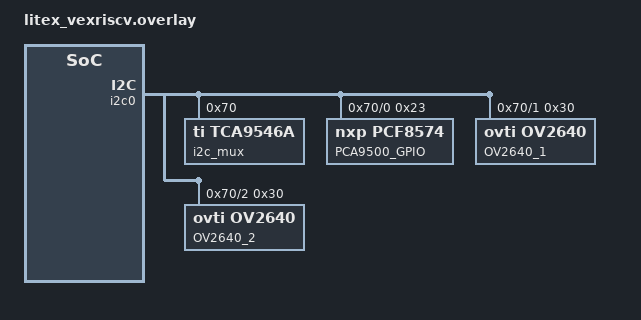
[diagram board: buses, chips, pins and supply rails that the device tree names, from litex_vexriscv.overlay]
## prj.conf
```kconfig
# Copyright (c) 2021-2022 Antmicro
# SPDX-License-Identifier: Apache-2.0

CONFIG_SHELL=y
CONFIG_SHELL_PROMPT_UART="video-overlays:~$ "

# Network
CONFIG_NET_UDP=y
CONFIG_NETWORKING=y
CONFIG_NET_IPV4=y
CONFIG_NET_SOCKETS=y
CONFIG_NET_SOCKETS_POSIX_NAMES=y
CONFIG_NET_SOCKETS_POLL_MAX=5

CONFIG_NET_CONFIG_SETTINGS=y
CONFIG_NET_CONFIG_PEER_IPV4_ADDR="192.0.2.2"
CONFIG_NET_CONFIG_MY_IPV4_ADDR="192.0.2.1"
CONFIG_NET_CONFIG_MY_IPV4_GW="192.0.2.2"

# Enable I2C MUX driver for two cameras and GPIO expander
CONFIG_I2C_TCA954X=y
CONFIG_I2C_TCA954X_ROOT_INIT_PRIO=61
CONFIG_I2C_TCA954X_CHANNEL_INIT_PRIO=62

# Enable GPIO expander driver
CONFIG_GPIO_PCF8574=y
CONFIG_GPIO_PCF8574_INIT_PRIORITY=63

# Enable camera driver
CONFIG_VIDEO=y
CONFIG_VIDEO_OV2640=y

# Enable FastVDMA driver
CONFIG_DMA=y
CONFIG_DMA_LITEX_FASTVDMA=y

CONFIG_LOG=y
CONFIG_DMA_LOG_LEVEL_DBG=y
CONFIG_I2C_LOG_LEVEL_DBG=y
CONFIG_GPIO_LOG_LEVEL_DBG=y

#Timing subsystem
CONFIG_TIMING_FUNCTIONS=y
```

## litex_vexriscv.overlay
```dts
/*
 * Copyright (c) 2021-2022 Antmicro
 *
 * SPDX-License-Identifier: Apache-2.0
 */

&uart0 {
	reg = <0xf0002800 0x20>;
	interrupts = <0x0 0>;
};

&timer0 {
	reg = <0xf0003000 0x40>;
	interrupts = <0x1 0>;
};

&eth0 {
	reg = <0xf0001800 0x6b 0x80000000 0x2000>;
	interrupts = <0x2 0>;
};

&i2c0 {
	reg = <0xf0000000 0x4 0xf0000004 0x4>;
	label = "i2c0";
	mux: tca9546a@70 {
		compatible = "ti,tca9546a";
		reg = <0x70>;
		status = "okay";
		label = "i2c_mux";
		#address-cells = <1>;
		#size-cells = <0>;

		mux_i2c@0 {
			label = "mux_dw_0";
			reg = <0>;
			status = "okay";
			#address-cells = <1>;
			#size-cells = <0>;
			compatible = "ti,tca9546a-channel";

			pcf8574@23 {
				compatible = "nxp,pcf8574";
				reg = <0x23>;
				label = "PCA9500_GPIO";
				status = "okay";
				ngpios = <8>;
				#gpio-cells = <2>;
				gpio-controller;
			};
		};

		mux_i2c@1 {
			label = "mux_dw_1";
			reg = <1>;
			status = "okay";
			#address-cells = <1>;
			#size-cells = <0>;
			compatible = "ti,tca9546a-channel";

			ov2640@30 {
				compatible = "ovti,ov2640";
				reg = <0x30>;
				label = "OV2640_1";
				status = "okay";
			};
		};

		mux_i2c@2 {
			label = "mux_dw_2";
			reg = <2>;
			status = "okay";
			#address-cells = <1>;
			#size-cells = <0>;
			compatible = "ti,tca9546a-channel";

			ov2640@30 {
				compatible = "ovti,ov2640";
				reg = <0x30>;
				label = "OV2640_2";
				status = "okay";
			};
		};
	};
};

&fastvdma_1 {
	status = "okay";
	label = "FASTVDMA_1";
	reg = <0x8000a000 0x4
		0x8000a004 0x1
		0x8000a008 0x1
		0x8000a00c 0x1
		0x8000a010 0x1
		0x8000a014 0x1
		0x8000a018 0x1
		0x8000a01c 0x1
		0x8000a020 0x1
		0x8000a024 0x1
		0x8000a028 0x1
		0x8000a02c 0x1
		0xf0000800 0x1
		0xf0000804 0x1
		0xf0000808 0x1>;
	interrupts = <0x3 0>;
};

&fastvdma_2 {
	status = "okay";
	label = "FASTVDMA_2";
	reg = <0x8000b000 0x4
		0x8000b004 0x1
		0x8000b008 0x1
		0x8000b00c 0x1
		0x8000b010 0x1
		0x8000b014 0x1
		0x8000b018 0x1
		0x8000b01c 0x1
		0x8000b020 0x1
		0x8000b024 0x1
		0x8000b028 0x1
		0x8000b02c 0x1
		0xf0001000 0x1
		0xf0001004 0x1
		0xf0001008 0x1>;
	interrupts = <0x4 0>;
};

&fastvdma_gpu_in_1 {
	status = "okay";
	label = "FASTVDMA_GPU_IN_1";
	reg = <0x8000c000 0x4
		0x8000c004 0x1
		0x8000c008 0x1
		0x8000c00c 0x1
		0x8000c010 0x1
		0x8000c014 0x1
		0x8000c018 0x1
		0x8000c01c 0x1
		0x8000c020 0x1
		0x8000c024 0x1
		0x8000c028 0x1
		0x8000c02c 0x1
		0xf0004800 0x1
		0xf0004804 0x1
		0xf0004808 0x1>;
	interrupts = <0x5 0>;
};

&fastvdma_gpu_in_2 {
	status = "okay";
	label = "FASTVDMA_GPU_IN_2";
	reg = <0x8000d000 0x4
		0x8000d004 0x1
		0x8000d008 0x1
		0x8000d00c 0x1
		0x8000d010 0x1
		0x8000d014 0x1
		0x8000d018 0x1
		0x8000d01c 0x1
		0x8000d020 0x1
		0x8000d024 0x1
		0x8000d028 0x1
		0x8000d02c 0x1
		0xf0005000 0x1
		0xf0005004 0x1
		0xf0005008 0x1>;
	interrupts = <0x6 0>;
};

&fastvdma_gpu_out {
	status = "okay";
	label = "FASTVDMA_GPU_OUT";
	reg = <0x8000e000 0x4
		0x8000e004 0x1
		0x8000e008 0x1
		0x8000e00c 0x1
		0x8000e010 0x1
		0x8000e014 0x1
		0x8000e018 0x1
		0x8000e01c 0x1
		0x8000e020 0x1
		0x8000e024 0x1
		0x8000e028 0x1
		0x8000e02c 0x1
		0xf0005800 0x1
		0xf0005804 0x1
		0xf0005808 0x1>;
	interrupts = <0x7 0>;
};

&litevideo_dma0 {
	status = "okay";
	label = "LITEVIDEO_DMA0";
	interrupts = <0x8 0>;
};

&gpio_in {
	status = "disabled";
};
```

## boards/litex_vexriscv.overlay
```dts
/*
 * Copyright (c) 2021-2022 Antmicro
 *
 * SPDX-License-Identifier: Apache-2.0
 */

&uart0 {
	reg = <0xf0002800 0x20>;
	interrupts = <0x0 0>;
};

&timer0 {
	reg = <0xf0003000 0x40>;
	interrupts = <0x1 0>;
};

&eth0 {
	reg = <0xf0001800 0x6b 0x80000000 0x2000>;
	interrupts = <0x2 0>;
};

&i2c0 {
	reg = <0xf0000000 0x4 0xf0000004 0x4>;
	label = "i2c0";
	mux: tca9546a@70 {
		compatible = "ti,tca9546a";
		reg = <0x70>;
		status = "okay";
		label = "i2c_mux";
		#address-cells = <1>;
		#size-cells = <0>;

		mux_i2c@0 {
			label = "mux_dw_0";
			reg = <0>;
			status = "okay";
			#address-cells = <1>;
			#size-cells = <0>;
			compatible = "ti,tca9546a-channel";

			pcf8574@23 {
				compatible = "nxp,pcf8574";
				reg = <0x23>;
				label = "PCA9500_GPIO";
				status = "okay";
				ngpios = <8>;
				#gpio-cells = <2>;
				gpio-controller;
			};
		};

		mux_i2c@1 {
			label = "mux_dw_1";
			reg = <1>;
			status = "okay";
			#address-cells = <1>;
			#size-cells = <0>;
			compatible = "ti,tca9546a-channel";

			ov2640@30 {
				compatible = "ovti,ov2640";
				reg = <0x30>;
				label = "OV2640_1";
				status = "okay";
			};
		};

		mux_i2c@2 {
			label = "mux_dw_2";
			reg = <2>;
			status = "okay";
			#address-cells = <1>;
			#size-cells = <0>;
			compatible = "ti,tca9546a-channel";

			ov2640@30 {
				compatible = "ovti,ov2640";
				reg = <0x30>;
				label = "OV2640_2";
				status = "okay";
			};
		};
	};
};

&fastvdma_1 {
	status = "okay";
	label = "FASTVDMA_1";
	reg = <0x8000a000 0x4
		0x8000a004 0x1
		0x8000a008 0x1
		0x8000a00c 0x1
		0x8000a010 0x1
		0x8000a014 0x1
		0x8000a018 0x1
		0x8000a01c 0x1
		0x8000a020 0x1
		0x8000a024 0x1
		0x8000a028 0x1
		0x8000a02c 0x1
		0xf0000800 0x1
		0xf0000804 0x1
		0xf0000808 0x1>;
	interrupts = <0x3 0>;
};

&fastvdma_2 {
	status = "okay";
	label = "FASTVDMA_2";
	reg = <0x8000b000 0x4
		0x8000b004 0x1
		0x8000b008 0x1
		0x8000b00c 0x1
		0x8000b010 0x1
		0x8000b014 0x1
		0x8000b018 0x1
		0x8000b01c 0x1
		0x8000b020 0x1
		0x8000b024 0x1
		0x8000b028 0x1
		0x8000b02c 0x1
		0xf0001000 0x1
		0xf0001004 0x1
		0xf0001008 0x1>;
	interrupts = <0x4 0>;
};

&fastvdma_gpu_in_1 {
	status = "okay";
	label = "FASTVDMA_GPU_IN_1";
	reg = <0x8000c000 0x4
		0x8000c004 0x1
		0x8000c008 0x1
		0x8000c00c 0x1
		0x8000c010 0x1
		0x8000c014 0x1
		0x8000c018 0x1
		0x8000c01c 0x1
		0x8000c020 0x1
		0x8000c024 0x1
		0x8000c028 0x1
		0x8000c02c 0x1
		0xf0004800 0x1
		0xf0004804 0x1
		0xf0004808 0x1>;
	interrupts = <0x5 0>;
};

&fastvdma_gpu_in_2 {
	status = "okay";
	label = "FASTVDMA_GPU_IN_2";
	reg = <0x8000d000 0x4
		0x8000d004 0x1
		0x8000d008 0x1
		0x8000d00c 0x1
		0x8000d010 0x1
		0x8000d014 0x1
		0x8000d018 0x1
		0x8000d01c 0x1
		0x8000d020 0x1
		0x8000d024 0x1
		0x8000d028 0x1
		0x8000d02c 0x1
		0xf0005000 0x1
		0xf0005004 0x1
		0xf0005008 0x1>;
	interrupts = <0x6 0>;
};

&fastvdma_gpu_out {
	status = "okay";
	label = "FASTVDMA_GPU_OUT";
	reg = <0x8000e000 0x4
		0x8000e004 0x1
		0x8000e008 0x1
		0x8000e00c 0x1
		0x8000e010 0x1
		0x8000e014 0x1
		0x8000e018 0x1
		0x8000e01c 0x1
		0x8000e020 0x1
		0x8000e024 0x1
		0x8000e028 0x1
		0x8000e02c 0x1
		0xf0005800 0x1
		0xf0005804 0x1
		0xf0005808 0x1>;
	interrupts = <0x7 0>;
};
```

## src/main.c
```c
/*
 * Copyright (c) 2021-2022 Antmicro
 *
 * SPDX-License-Identifier: Apache-2.0
 */

#include <zephyr.h>
#include <device.h>
#include <net/net_ip.h>
#include <stdio.h>
#include <net/socket.h>
#include <drivers/video.h>
#include <drivers/dma.h>
#include <drivers/gpio.h>
#include <timing/timing.h>

#include <logging/log.h>
LOG_MODULE_REGISTER(app);

#include "common.h"
#include "net.h"

#define OV2640_1 "OV2640_1"
#define OV2640_2 "OV2640_2"
#define FASTVDMA_1 "FASTVDMA_1"
#define FASTVDMA_2 "FASTVDMA_2"
#define FASTVDMA_GPU_IN_1 "FASTVDMA_GPU_IN_1"
#define FASTVDMA_GPU_IN_2 "FASTVDMA_GPU_IN_2"
#define FASTVDMA_GPU_OUT "FASTVDMA_GPU_OUT"
#define GPIO_EXPANDER "PCA9500_GPIO"

#define MY_STACK_SIZE 500
#define MY_PRIORITY 5

/* Implement function to flush cache memory for DMA */
#define CONFIG_L2_SIZE 8192
#define MAIN_RAM_BASE 0x40000000L

#define STACKSIZE 1024
#define PRIORITY 7

/* Uncomment this line if you want to have printed performance
 * measurements during test functions
 */
// #define MEASURE_PERFORMANCE 1

const struct device *ov2640_dev_1;
const struct device *ov2640_dev_2;
const struct device *fastvdma_dev_cam_1;
const struct device *fastvdma_dev_cam_2;
const struct device *fastvdma_dev_gpu_in_1;
const struct device *fastvdma_dev_gpu_in_2;
const struct device *fastvdma_dev_gpu_out;
const struct device *gpio_expander;

uint32_t cam_buff_1[MAX_IMG_SIZE];
uint32_t cam_buff_2[MAX_IMG_SIZE];
uint32_t cam_buff_3[MAX_IMG_SIZE];
uint32_t gpu_buff_1[MAX_IMG_SIZE];
uint32_t gpu_buff_2[MAX_IMG_SIZE];
uint32_t gpu_buff_3[MAX_IMG_SIZE];

uint32_t *hdmi_buffers[3] = {cam_buff_1, cam_buff_2, cam_buff_3};
uint32_t *hdmi_buffers_overlay[3] = {gpu_buff_1, gpu_buff_2, gpu_buff_3};

uint32_t overlay_image[MAX_IMG_SIZE];
uint32_t img_length_1 = 800 * 600;
uint32_t img_length_2 = 800 * 600;
uint32_t logo_offset_x;
uint32_t logo_offset_y;

int cam_buffer_index;
int gpu_buffer_index;

struct video_format fmt_1;
struct video_format fmt_2;
struct video_caps caps;

struct dma_config dma_cfg_cam1 = { 0 };
struct dma_config dma_cfg_cam2 = { 0 };
struct dma_config dma_cfg_gpu_in = { 0 };
struct dma_config dma_cfg_gpu_out = { 0 };
struct dma_block_config dma_block_cfg_cam = { 0 };
struct dma_block_config dma_block_cfg_gpu_in = { 0 };
struct dma_block_config dma_block_cfg_gpu_out = { 0 };

enum mode {cams, overlay } mode;
enum mode mode = cams;

enum overlay_mode {text, logo} overlay_mode;
enum overlay_mode overlay_mode = text;

char overlay_text[25] = "Video Overlays 2022";

const k_tid_t hdmi_id;
const k_tid_t cam_id;
const k_tid_t gpu_id;

bool suspend_hdmi;
bool suspend_cam;
bool suspend_gpu;

#ifdef MEASURE_PERFORMANCE
timing_t start_time_cam, end_time_cam;
timing_t start_time_gpu, end_time_gpu;
uint64_t measures_cam[100] = {0};
int n_measure_cam;
uint64_t measures_gpu[100] = {0};
int n_measure_gpu;
#endif

struct k_sem my_sem;

K_THREAD_DEFINE(hdmi_id, STACKSIZE, hdmi, NULL, NULL, NULL, PRIORITY, 0, 0);

K_THREAD_DEFINE(cam_id, STACKSIZE, cam, NULL, NULL, NULL, PRIORITY, 0, 0);

K_THREAD_DEFINE(gpu_id, STACKSIZE, gpu, NULL, NULL, NULL, PRIORITY, 0, 0);

void flush_l2_cache(void)
{
#ifdef CONFIG_L2_SIZE
	unsigned int i;

	for (i = 0; i < 2 * CONFIG_L2_SIZE / 4; i++) {
		((volatile unsigned int *)MAIN_RAM_BASE)[i];
	}
#endif
}

void led_chaser(void)
{
	int pin = 0;
	gpio_port_pins_t mask_high = 0xf;
	gpio_port_pins_t mask_low = 0x0;

	while (true) {
		if (pin == 4) {
			pin = 0;
		}

		mask_high ^= BIT(pin);
		mask_low ^= BIT(pin);

		gpio_port_set_masked(gpio_expander, mask_high, 0xf);
		gpio_port_set_masked(gpio_expander, mask_low, 0x0);

		k_msleep(110);
		pin++;
	}
}

K_THREAD_DEFINE(my_tid, MY_STACK_SIZE, led_chaser, NULL, NULL, NULL, MY_PRIORITY, 0, 0);

void print_camera_caps(const struct device *dev)
{
	if (video_get_caps(dev, VIDEO_EP_OUT, &caps)) {
		printf("Unable to retrieve video capabilities");
		return;
	}

	int i = 0;

	printf("- Capabilities:\n");
	while (caps.format_caps[i].pixelformat) {
		const struct video_format_cap *fcap = &caps.format_caps[i];
		/* fourcc to string */
		printf("  %c%c%c%c width [%u; %u; %u] height [%u; %u; %u]\n",
				(char)fcap->pixelformat, (char)(fcap->pixelformat >> 8),
				(char)(fcap->pixelformat >> 16), (char)(fcap->pixelformat >> 24),
				fcap->width_min, fcap->width_max, fcap->width_step, fcap->height_min,
				fcap->height_max, fcap->height_step);
		i++;
	}
}

int get_camera_fmt(const struct device *dev, struct video_format *fmt)
{
	/* Get default/native format - camera 1 */
	if (video_get_format(dev, VIDEO_EP_OUT, fmt)) {
		printf("Unable to retrieve video format");
		return -1;
	}

	printf("- Default format: %c%c%c%c %ux%u\n", (char)fmt->pixelformat,
			(char)(fmt->pixelformat >> 8), (char)(fmt->pixelformat >> 16),
			(char)(fmt->pixelformat >> 24), fmt->width, fmt->height);

	return 0;
}

void main(void)
{
	k_sem_init(&my_sem, 0, 1);
	suspend_threads();
#ifdef MEASURE_PERFORMANCE
	timing_init();
	timing_start();
#endif

	ov2640_dev_1 = device_get_binding(OV2640_1);
	ov2640_dev_2 = device_get_binding(OV2640_2);
	fastvdma_dev_cam_1 = device_get_binding(FASTVDMA_1);
	fastvdma_dev_cam_2 = device_get_binding(FASTVDMA_2);
	fastvdma_dev_gpu_in_1 = device_get_binding(FASTVDMA_GPU_IN_1);
	fastvdma_dev_gpu_in_2 = device_get_binding(FASTVDMA_GPU_IN_2);
	fastvdma_dev_gpu_out = device_get_binding(FASTVDMA_GPU_OUT);
	gpio_expander = device_get_binding(GPIO_EXPANDER);

	if (ov2640_dev_1 == NULL || ov2640_dev_2 == NULL) {
		printf("Camera sensor binding failed.\n");
		return;
	}

	if (fastvdma_dev_cam_1 == NULL || fastvdma_dev_cam_2 == NULL) {
		printf("Camera DMA binding failed.\n");
		return;
	}

	if (fastvdma_dev_gpu_in_1 == NULL || fastvdma_dev_gpu_in_2 == NULL ||
		fastvdma_dev_gpu_out == NULL) {
		printf("GPU DMA binding failed.\n");
		return;
	}

	/* Initialize all 5 DMAs */
	dma_init_cam1();
	dma_init_cam2();
	dma_init_gpu_inputs();
	dma_init_gpu_output();

	print_camera_caps(ov2640_dev_1);
	print_camera_caps(ov2640_dev_2);

	get_camera_fmt(ov2640_dev_1, &fmt_1);
	get_camera_fmt(ov2640_dev_2, &fmt_2);

	if (init_socket()) {
		printf("Failed to configure sockets.\n");
		return;
	};
}
```

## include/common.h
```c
/*
 * Copyright (c) 2021-2022 Antmicro
 *
 * SPDX-License-Identifier: Apache-2.0
 */

#define MAX_IMG_SIZE  (1280 * 1024)
#define MAX_IMG_WIDTH  1280
#define MAX_IMG_HEIGTH 1024

extern const struct device *fastvdma_dev_cam_1;
extern const struct device *fastvdma_dev_cam_2;
extern const struct device *fastvdma_dev_gpu_in_1;
extern const struct device *fastvdma_dev_gpu_in_2;
extern const struct device *fastvdma_dev_gpu_out;

extern struct dma_config dma_cfg_cam1;
extern struct dma_config dma_cfg_cam2;
extern struct dma_config dma_cfg_gpu_in;
extern struct dma_config dma_cfg_gpu_out;

extern struct dma_block_config dma_block_cfg_cam;
extern struct dma_block_config dma_block_cfg_gpu_in;
extern struct dma_block_config dma_block_cfg_gpu_out;

extern uint32_t overlay_image[MAX_IMG_SIZE];
extern uint32_t cam_buff_1[MAX_IMG_SIZE];
extern uint32_t cam_buff_2[MAX_IMG_SIZE];
extern uint32_t cam_buff_3[MAX_IMG_SIZE];
extern uint32_t gpu_buff_1[MAX_IMG_SIZE];
extern uint32_t gpu_buff_2[MAX_IMG_SIZE];
extern uint32_t gpu_buff_3[MAX_IMG_SIZE];

extern uint32_t *hdmi_buffers[3];
extern uint32_t *hdmi_buffers_overlay[3];
```

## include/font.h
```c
/*
 * Copyright (c) 2021-2022 Antmicro
 * Copyright (c) 2015-2019, Nicholas Christopoulos (nereus@freemail.gr),
 * with Reserved Font Name XSG-Fixed.
 *
 * This Font Software is licensed under the SIL Open Font License, Version 1.1.
 */

char font[][16] = {
	{ 0x00, 0x00, 0x00, 0x00, 0x00, 0x00, 0x00, 0x00, 0x00, 0x00, 0x00, 0x00, 0x00, 0x00, 0x00, 0x00 }, // space
	{ 0x00, 0x00, 0x30, 0x30, 0x30, 0x30, 0x30, 0x30, 0x30, 0x30, 0x30, 0x00, 0x30, 0x30, 0x00, 0x00 }, // !
	{ 0x00, 0x00, 0x6c, 0x6c, 0x6c, 0x6c, 0x00, 0x00, 0x00, 0x00, 0x00, 0x00, 0x00, 0x00, 0x00, 0x00 }, // "
	{ 0x00, 0x00, 0x00, 0x6c, 0x6c, 0x6c, 0xfe, 0x6c, 0x6c, 0x6c, 0xfe, 0x6c, 0x6c, 0x6c, 0x00, 0x00 }, // #
	{ 0x00, 0x00, 0x30, 0x30, 0x78, 0xcc, 0xe0, 0x70, 0x38, 0x1c, 0xcc, 0x78, 0x30, 0x30, 0x00, 0x00 }, // $
	{ 0x00, 0x00, 0xec, 0xac, 0xec, 0x18, 0x18, 0x30, 0x30, 0x60, 0x60, 0xdc, 0xd4, 0xdc, 0x00, 0x00 }, // %
	{ 0x00, 0x00, 0x00, 0x70, 0xd8, 0xd8, 0xd8, 0x70, 0x6c, 0xd8, 0xd8, 0xd8, 0xd8, 0x6c, 0x00, 0x00 }, // &
	{ 0x00, 0x70, 0x70, 0x30, 0x30, 0x60, 0x00, 0x00, 0x00, 0x00, 0x00, 0x00, 0x00, 0x00, 0x00, 0x00 }, // '
	{ 0x00, 0x18, 0x30, 0x60, 0x60, 0xc0, 0xc0, 0xc0, 0xc0, 0xc0, 0xc0, 0x60, 0x60, 0x30, 0x18, 0x00 }, // (
	{ 0x00, 0x60, 0x30, 0x18, 0x18, 0x0c, 0xc0, 0x0c, 0x0c, 0x0c, 0x0c, 0x18, 0x18, 0x30, 0x60, 0x00 }, // )
	{ 0x00, 0x00, 0x00, 0x00, 0x00, 0x00, 0x00, 0xcc, 0x78, 0xfc, 0x78, 0xcc, 0x00, 0x00, 0x00, 0x00 }, // *
	{ 0x00, 0x00, 0x00, 0x00, 0x00, 0x00, 0x30, 0x30, 0x30, 0xfc, 0x30, 0x30, 0x30, 0x00, 0x00, 0x00 }, // +
	{ 0x00, 0x00, 0x00, 0x00, 0x00, 0x00, 0x00, 0x00, 0x00, 0x00, 0x00, 0x00, 0x30, 0x30, 0x30, 0x60 }, // ,
	{ 0x00, 0x00, 0x00, 0x00, 0x00, 0x00, 0x00, 0x00, 0x00, 0xfc, 0x00, 0x00, 0x00, 0x00, 0x00, 0x00 }, // -
	{ 0x00, 0x00, 0x00, 0x00, 0x00, 0x00, 0x00, 0x00, 0x00, 0x00, 0x00, 0x00, 0x30, 0x30, 0x00, 0x00 }, // .
	{ 0x00, 0x00, 0x0c, 0x0c, 0x0c, 0x18, 0x18, 0x30, 0x30, 0x60, 0x60, 0xc0, 0xc0, 0xc0, 0x00, 0x00 }, // /
	{ 0x00, 0x00, 0x78, 0xcc, 0xcc, 0xcc, 0xdc, 0xdc, 0xec, 0xec, 0xcc, 0xcc, 0xcc, 0x78, 0x00, 0x00 }, // 0
	{ 0x00, 0x00, 0x30, 0x30, 0x70, 0x70, 0x30, 0x30, 0x30, 0x30, 0x30, 0x30, 0x30, 0x78, 0x00, 0x00 }, // 1
	{ 0x00, 0x00, 0xf8, 0x0c, 0x0c, 0x0c, 0x0c, 0x18, 0x30, 0x60, 0xc0, 0xc0, 0xc0, 0xfc, 0x00, 0x00 }, // 2
	{ 0x00, 0x00, 0xf8, 0x0c, 0x0c, 0x0c, 0x0c, 0x38, 0x0c, 0x0c, 0x0c, 0x0c, 0x0c, 0xf8, 0x00, 0x00 }, // 3
	{ 0x00, 0x00, 0x0c, 0x0c, 0xcc, 0xcc, 0xcc, 0xcc, 0xcc, 0xcc, 0xcc, 0xfc, 0x0c, 0x0c, 0x00, 0x00 }, // 4
	{ 0x00, 0x00, 0xfc, 0xc0, 0xc0, 0xc0, 0xf8, 0x0c, 0x0c, 0x0c, 0x0c, 0x0c, 0x0c, 0xf8, 0x00, 0x00 }, // 5
	{ 0x00, 0x00, 0x78, 0xc0, 0xc0, 0xc0, 0xf8, 0xcc, 0xcc, 0xcc, 0xcc, 0xcc, 0xcc, 0x78, 0x00, 0x00 }, // 6
	{ 0x00, 0x00, 0xfc, 0x0c, 0x0c, 0x0c, 0x18, 0x18, 0x30, 0x30, 0x30, 0x30, 0x30, 0x30, 0x00, 0x00 }, // 7
	{ 0x00, 0x00, 0x78, 0xcc, 0xcc, 0xcc, 0xcc, 0x78, 0xcc, 0xcc, 0xcc, 0xcc, 0xcc, 0x78, 0x00, 0x00 }, // 8
	{ 0x00, 0x00, 0x78, 0xcc, 0xcc, 0xcc, 0xcc, 0xcc, 0xcc, 0x7c, 0x0c, 0x0c, 0x0c, 0x78, 0x00, 0x00 }, // 9
	{ 0x00, 0x00, 0x00, 0x00, 0x00, 0x30, 0x30, 0x00, 0x00, 0x00, 0x00, 0x00, 0x30, 0x30, 0x00, 0x00 }, // :
	{ 0x00, 0x00, 0x00, 0x00, 0x00, 0x30, 0x30, 0x00, 0x00, 0x00, 0x00, 0x00, 0x30, 0x30, 0x30, 0x60 }, // ;
	{ 0x00, 0x00, 0x00, 0x00, 0x00, 0x0c, 0x18, 0x30, 0x60, 0xc0, 0x60, 0x30, 0x18, 0x0c, 0x00, 0x00 }, // <
	{ 0x00, 0x00, 0x00, 0x00, 0x00, 0x00, 0x00, 0xfc, 0x00, 0x00, 0xfc, 0x00, 0x00, 0x00, 0x00, 0x00 }, // =
	{ 0x00, 0x00, 0x00, 0x00, 0x00, 0xc0, 0x60, 0x30, 0x18, 0x0c, 0x18, 0x30, 0x60, 0xc0, 0x00, 0x00 }, // >
	{ 0x00, 0x00, 0x78, 0xcc, 0xcc, 0x0c, 0x0c, 0x18, 0x30, 0x30, 0x30, 0x00, 0x30, 0x30, 0x00, 0x00 }, // ?
	{ 0x00, 0x00, 0x7c, 0xc6, 0xce, 0xd6, 0xd6, 0xd6, 0xd6, 0xd6, 0xd6, 0xde, 0xc0, 0x7c, 0x00, 0x00 }, // @
	{ 0x00, 0x00, 0x78, 0xcc, 0xcc, 0xcc, 0xcc, 0xcc, 0xfc, 0xcc, 0xcc, 0xcc, 0xcc, 0xcc, 0x00, 0x00 }, // A
	{ 0x00, 0x00, 0xf8, 0xcc, 0xcc, 0xcc, 0xcc, 0xf8, 0xcc, 0xcc, 0xcc, 0xcc, 0xcc, 0xf8, 0x00, 0x00 }, // B
	{ 0x00, 0x00, 0x78, 0xcc, 0xcc, 0xc0, 0xc0, 0xc0, 0xc0, 0xc0, 0xc0, 0xcc, 0xcc, 0x78, 0x00, 0x00 }, // C
	{ 0x00, 0x00, 0xf8, 0xcc, 0xcc, 0xcc, 0xcc, 0xcc, 0xcc, 0xcc, 0xcc, 0xcc, 0xcc, 0xf8, 0x00, 0x00 }, // D
	{ 0x00, 0x00, 0xfc, 0xc0, 0xc0, 0xc0, 0xc0, 0xf8, 0xc0, 0xc0, 0xc0, 0xc0, 0xc0, 0xfc, 0x00, 0x00 }, // E
	{ 0x00, 0x00, 0xfc, 0xc0, 0xc0, 0xc0, 0xc0, 0xf8, 0xc0, 0xc0, 0xc0, 0xc0, 0xc0, 0xc0, 0x00, 0x00 }, // F
	{ 0x00, 0x00, 0x78, 0xcc, 0xcc, 0xc0, 0xc0, 0xc0, 0xdc, 0xcc, 0xcc, 0xcc, 0xcc, 0x7c, 0x00, 0x00 }, // G
	{ 0x00, 0x00, 0xcc, 0xcc, 0xcc, 0xcc, 0xcc, 0xfc, 0xcc, 0xcc, 0xcc, 0xcc, 0xcc, 0xcc, 0x00, 0x00 }, // H
	{ 0x00, 0x00, 0x78, 0x30, 0x30, 0x30, 0x30, 0x30, 0x30, 0x30, 0x30, 0x30, 0x30, 0x78, 0x00, 0x00 }, // I
	{ 0x00, 0x00, 0x78, 0x30, 0x30, 0x30, 0x30, 0x30, 0x30, 0x30, 0x30, 0x30, 0x30, 0xe0, 0x00, 0x00 }, // J
	{ 0x00, 0x00, 0xcc, 0xcc, 0xcc, 0xd8, 0xd8, 0xf0, 0xf0, 0xd8, 0xd8, 0xcc, 0xcc, 0xcc, 0x00, 0x00 }, // K
	{ 0x00, 0x00, 0xc0, 0xc0, 0xc0, 0xc0, 0xc0, 0xc0, 0xc0, 0xc0, 0xc0, 0xc0, 0xc0, 0xfc, 0x00, 0x00 }, // L
	{ 0x00, 0x00, 0x84, 0xcc, 0xfc, 0xfc, 0xd4, 0xc4, 0xc4, 0xc4, 0xc4, 0xc4, 0xc4, 0xc4, 0x00, 0x00 }, // M
	{ 0x00, 0x00, 0x84, 0xc4, 0xe4, 0xf4, 0xdc, 0xcc, 0xc4, 0xc4, 0xc4, 0xc4, 0xc4, 0xc4, 0x00, 0x00 }, // N
	{ 0x00, 0x00, 0x78, 0xcc, 0xcc, 0xcc, 0xcc, 0xcc, 0xcc, 0xcc, 0xcc, 0xcc, 0xcc, 0x78, 0x00, 0x00 }, // O
	{ 0x00, 0x00, 0xf8, 0xcc, 0xcc, 0xcc, 0xcc, 0xcc, 0xcc, 0xf8, 0xc0, 0xc0, 0xc0, 0xc0, 0x00, 0x00 }, // P
	{ 0x00, 0x00, 0x78, 0xcc, 0xcc, 0xcc, 0xcc, 0xcc, 0xcc, 0xcc, 0xcc, 0xcc, 0xcc, 0x78, 0x30, 0x30 }, // Q
	{ 0x00, 0x00, 0xf8, 0xcc, 0xcc, 0xcc, 0xcc, 0xcc, 0xf8, 0xcc, 0xcc, 0xcc, 0xcc, 0xcc, 0x00, 0x00 }, // R
	{ 0x00, 0x00, 0x78, 0xcc, 0xcc, 0xc0, 0x60, 0x30, 0x18, 0x0c, 0x0c, 0xcc, 0xcc, 0x78, 0x00, 0x00 }, // S
	{ 0x00, 0x00, 0xfc, 0x30, 0x30, 0x30, 0x30, 0x30, 0x30, 0x30, 0x30, 0x30, 0x30, 0x30, 0x00, 0x00 }, // T
	{ 0x00, 0x00, 0xcc, 0xcc, 0xcc, 0xcc, 0xcc, 0xcc, 0xcc, 0xcc, 0xcc, 0xcc, 0xcc, 0x78, 0x00, 0x00 }, // U
	{ 0x00, 0x00, 0xcc, 0xcc, 0xcc, 0xcc, 0xcc, 0xcc, 0xcc, 0xcc, 0x68, 0x68, 0x30, 0x30, 0x00, 0x00 }, // V
	{ 0x00, 0x00, 0xc6, 0xc6, 0xc6, 0xc6, 0xc6, 0xd6, 0xd6, 0xd6, 0xd6, 0xd6, 0xfe, 0x6c, 0x00, 0x00 }, // W
	{ 0x00, 0x00, 0xcc, 0xcc, 0xcc, 0xcc, 0x68, 0x30, 0x58, 0xcc, 0xcc, 0xcc, 0xcc, 0xcc, 0x00, 0x00 }, // X
	{ 0x00, 0x00, 0xcc, 0xcc, 0xcc, 0xcc, 0xcc, 0xcc, 0xcc, 0x78, 0x30, 0x30, 0x30, 0x30, 0x00, 0x00 }, // Y
	{ 0x00, 0x00, 0xfc, 0x0c, 0x0c, 0x18, 0x18, 0x30, 0x30, 0x60, 0x60, 0xc0, 0xc0, 0xfc, 0x00, 0x00 }, // Z
	{ 0x00, 0x78, 0x60, 0x60, 0x60, 0x60, 0x60, 0x60, 0x60, 0x60, 0x60, 0x60, 0x60, 0x60, 0x78, 0x00 }, // [
	{ 0x00, 0x00, 0xc0, 0xc0, 0xc0, 0x60, 0x60, 0x30, 0x30, 0x18, 0x18, 0x0c, 0x0c, 0x0c, 0x00, 0x00 }, // backslash
	{ 0x00, 0x78, 0x18, 0x18, 0x18, 0x18, 0x18, 0x18, 0x18, 0x18, 0x18, 0x18, 0x18, 0x18, 0x78, 0x00 }, // ]
	{ 0x00, 0x00, 0x30, 0x78, 0xfc, 0x30, 0x30, 0x30, 0x30, 0x00, 0x00, 0x00, 0x00, 0x00, 0x00, 0x00 }, // ^
	{ 0x00, 0x00, 0x00, 0x00, 0x00, 0x00, 0x00, 0x00, 0x00, 0x00, 0x00, 0x00, 0x00, 0x00, 0xfe, 0x00 }, // _
	{ 0x00, 0x30, 0x60, 0x60, 0x70, 0x70, 0x00, 0x00, 0x00, 0x00, 0x00, 0x00, 0x00, 0x00, 0x00, 0x00 }, // `
	{ 0x00, 0x00, 0x00, 0x00, 0x00, 0x7c, 0xcc, 0xcc, 0xcc, 0xcc, 0xcc, 0xcc, 0xdc, 0x6c, 0x00, 0x00 }, // a
	{ 0x00, 0x00, 0xc0, 0xc0, 0xc0, 0xf8, 0xcc, 0xcc, 0xcc, 0xcc, 0xcc, 0xcc, 0xcc, 0xf8, 0x00, 0x00 }, // b
	{ 0x00, 0x00, 0x00, 0x00, 0x00, 0x7c, 0xc0, 0xc0, 0xc0, 0xc0, 0xc0, 0xc0, 0xc0, 0x7c, 0x00, 0x00 }, // c
	{ 0x00, 0x00, 0x0c, 0x0c, 0x0c, 0x7c, 0xcc, 0xcc, 0xcc, 0xcc, 0xcc, 0xcc, 0xcc, 0x7c, 0x00, 0x00 }, // d
	{ 0x00, 0x00, 0x00, 0x00, 0x00, 0x78, 0xcc, 0xcc, 0xcc, 0xfc, 0xc0, 0xc0, 0xc0, 0x78, 0x00, 0x00 }, // e
	{ 0x00, 0x00, 0x3c, 0x60, 0x60, 0x60, 0x60, 0x60, 0x60, 0xf8, 0x60, 0x60, 0x60, 0x60, 0x00, 0x00 }, // f
	{ 0x00, 0x00, 0x00, 0x00, 0x00, 0x7c, 0xcc, 0xcc, 0xcc, 0xcc, 0xcc, 0xcc, 0xcc, 0x7c, 0x0c, 0x78 }, // g
	{ 0x00, 0x00, 0xc0, 0xc0, 0xc0, 0xf8, 0xcc, 0xcc, 0xcc, 0xcc, 0xcc, 0xcc, 0xcc, 0xcc, 0x00, 0x00 }, // h
	{ 0x00, 0x00, 0x30, 0x30, 0x00, 0xf0, 0x30, 0x30, 0x30, 0x30, 0x30, 0x30, 0x30, 0xfc, 0x00, 0x00 }, // i
	{ 0x00, 0x00, 0x18, 0x18, 0x00, 0x78, 0x18, 0x18, 0x18, 0x18, 0x18, 0x18, 0x18, 0x18, 0x18, 0x70 }, // j
	{ 0x00, 0x00, 0xc0, 0xc0, 0xc0, 0xcc, 0xcc, 0xd8, 0xf0, 0xf0, 0xd8, 0xd8, 0xcc, 0xcc, 0x00, 0x00 }, // k
	{ 0x00, 0x00, 0xf0, 0x30, 0x30, 0x30, 0x30, 0x30, 0x30, 0x30, 0x30, 0x30, 0x30, 0xfc, 0x00, 0x00 }, // l
	{ 0x00, 0x00, 0x00, 0x00, 0x00, 0xfc, 0xd6, 0xd6, 0xd6, 0xd6, 0xd6, 0xd6, 0xd6, 0xd6, 0x00, 0x00 }, // m
	{ 0x00, 0x00, 0x00, 0x00, 0x00, 0xf8, 0xcc, 0xcc, 0xcc, 0xcc, 0xcc, 0xcc, 0xcc, 0xcc, 0x00, 0x00 }, // n
	{ 0x00, 0x00, 0x00, 0x00, 0x00, 0x78, 0xcc, 0xcc, 0xcc, 0xcc, 0xcc, 0xcc, 0xcc, 0x78, 0x00, 0x00 }, // o
	{ 0x00, 0x00, 0x00, 0x00, 0x00, 0xf8, 0xcc, 0xcc, 0xcc, 0xcc, 0xcc, 0xcc, 0xcc, 0xf8, 0xc0, 0xc0 }, // p
	{ 0x00, 0x00, 0x00, 0x00, 0x00, 0x7c, 0xcc, 0xcc, 0xcc, 0xcc, 0xcc, 0xcc, 0xcc, 0x7c, 0x0c, 0x0c }, // q
	{ 0x00, 0x00, 0x00, 0x00, 0x00, 0xfc, 0xc0, 0xc0, 0xc0, 0xc0, 0xc0, 0xc0, 0xc0, 0xc0, 0x00, 0x00 }, // r
	{ 0x00, 0x00, 0x00, 0x00, 0x00, 0x7c, 0xc0, 0xc0, 0x60, 0x30, 0x18, 0x0c, 0x0c, 0xf8, 0x00, 0x00 }, // s
	{ 0x00, 0x00, 0x60, 0x60, 0x60, 0xfc, 0x60, 0x60, 0x60, 0x60, 0x60, 0x60, 0x60, 0x3c, 0x00, 0x00 }, // t
	{ 0x00, 0x00, 0x00, 0x00, 0x00, 0xcc, 0xcc, 0xcc, 0xcc, 0xcc, 0xcc, 0xcc, 0xcc, 0x7c, 0x00, 0x00 }, // u
	{ 0x00, 0x00, 0x00, 0x00, 0x00, 0xcc, 0xcc, 0xcc, 0xcc, 0xcc, 0x68, 0x68, 0x30, 0x30, 0x00, 0x00 }, // v
	{ 0x00, 0x00, 0x00, 0x00, 0x00, 0xc6, 0xc6, 0xc6, 0xd6, 0xd6, 0xd6, 0xd6, 0xd6, 0x6c, 0x00, 0x00 }, // w
	{ 0x00, 0x00, 0x00, 0x00, 0x00, 0xcc, 0xcc, 0xcc, 0x78, 0x30, 0x78, 0xcc, 0xcc, 0xcc, 0x00, 0x00 }, // x
	{ 0x00, 0x00, 0x00, 0x00, 0x00, 0xcc, 0xcc, 0xcc, 0xcc, 0xcc, 0xcc, 0xcc, 0xcc, 0x7c, 0x0c, 0x78 }, // y
	{ 0x00, 0x00, 0x00, 0x00, 0x00, 0xfc, 0x0c, 0x0c, 0x18, 0x30, 0x60, 0xc0, 0xc0, 0xfc, 0x00, 0x00 }, // z
	{ 0x00, 0x38, 0x60, 0x60, 0x60, 0x60, 0x60, 0x60, 0xc0, 0x60, 0x60, 0x60, 0x60, 0x60, 0x60, 0x38 }, // {
	{ 0x00, 0x00, 0x30, 0x30, 0x30, 0x30, 0x30, 0x30, 0x30, 0x30, 0x30, 0x30, 0x30, 0x30, 0x00, 0x00 }, // |
	{ 0x00, 0xe0, 0x30, 0x30, 0x30, 0x30, 0x30, 0x30, 0x18, 0x30, 0x30, 0x30, 0x30, 0x30, 0x30, 0xe0 }, // }
	{ 0x00, 0x00, 0x00, 0x00, 0x74, 0xb8, 0x00, 0x00, 0x00, 0x00, 0x00, 0x00, 0x00, 0x00, 0x00, 0x00 }, // ~
};
```

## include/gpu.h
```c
/*
 * Copyright (c) 2021-2022 Antmicro
 *
 * SPDX-License-Identifier: Apache-2.0
 */

/* GPU */
typedef struct {
	uint8_t CR;			/* offset 0x00*/
	uint8_t FILL_CLR;	/* offset 0x04*/
	uint8_t FILL_CLR_2;	/* offset 0x08*/
	uint8_t FILL_CLR_3;	/* offset 0x0C*/
	uint8_t FILL_CLR_4;	/* offset 0x10*/
} GPU_typedef;

#ifndef CSR_BASE
#define CSR_BASE	(0xf0000000L)
#endif

/* GPU */
#define GPU_BASE	(CSR_BASE + 0x4000L)
#define GPU			((volatile GPU_typedef*) GPU_BASE)

/* GPU operating modes */
#define GPU_CR_IDLE				((uint32_t)0x00000000)
#define GPU_CR_ALPHA_BLENDER	((uint32_t)0x00000001)
#define GPU_CR_FILL_AREA		((uint32_t)0x00000002)

/* Colors */
#define CLR_RED		((uint32_t)0xFF0000FF)
#define CLR_GREEN	((uint32_t)0xFF00FF00)
#define CLR_BLUE	((uint32_t)0xFFFF0000)
```

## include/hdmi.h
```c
/*
 * Copyright (c) 2021-2022 Antmicro
 *
 * SPDX-License-Identifier: Apache-2.0
 */

#define INITIATOR_ENABLE_REG		0x3818L
#define INITIATOR_HSCAN_HI			0x3834L
#define INITIATOR_HSCAN_LOW		0x3838L
#define INITIATOR_HRES_HI			0x381cL
#define INITIATOR_HRES_LOW			0x3820L
#define INITIATOR_HSYNC_START_HI	0x3824L
#define INITIATOR_HSYNC_START_LOW	0x3828L
#define INITIATOR_HSYNC_END_HI		0x382cL
#define INITIATOR_HSYNC_END_LOW	0x3830L
#define INITIATOR_VRES_HI			0x383cL
#define INITIATOR_VRES_LOW			0x3840L
#define INITIATOR_VSYNC_START_HI	0x3844L
#define INITIATOR_VSYNC_START_LOW	0x3848L
#define INITIATOR_VSYNC_END_HI		0x384cL
#define INITIATOR_VSYNC_END_LOW	0x3850L
#define INITIATOR_VSCAN_HI			0x3854L
#define INITIATOR_VSCAN_LOW		0x3858L
#define INITIATOR_BASE_BYTE_0		0x385cL
#define INITIATOR_BASE_BYTE_1		0x3860L
#define INITIATOR_BASE_BYTE_2		0x3864L
#define INITIATOR_BASE_BYTE_3		0x3868L
#define INITIATOR_LENGTH_BYTE_0	0x386cL
#define INITIATOR_LENGTH_BYTE_1	0x3870L
#define INITIATOR_LENGTH_BYTE_2	0x3874L
#define INITIATOR_LENGTH_BYTE_3	0x3878L

#define CLOCKING_MMCM_RESET_REG	0x388cL
#define CLOCKING_MMCM_REG			0x3894L
#define CLOCKING_MMCM_DRDY_REG		0x3898L
#define CLOCKING_MMCM_ADR_REG		0x389cL
#define CLOCKING_MMCM_DAT_REG_HI	0x38a0L
#define CLOCKING_MMCM_DAT_REG_LOW	0x38a4L

#define HDMI_RESET	0x38b0L

#ifndef CSR_BASE
#define CSR_BASE 0xf0000000L
#endif

/* Default structure for HDMI timings */
struct video_timing {
	int pixel_clock;
	int h_active;
	int h_blanking;
	int h_sync_offset;
	int h_sync_width;
	int v_active;
	int v_blanking;
	int v_sync_offset;
	int v_sync_width;
	int established_timing;
	int flags;
};

/* Framebuffer timings configuration */
void fb_get_clock_md(unsigned int pixel_clock, unsigned int *best_m, unsigned int *best_d);
void fb_set_clock(unsigned int pixel_clock);
void timings_write(struct video_timing *vid_t);
void fb_clkgen_write(int m, int d);

/* Initiator configuration */
uint8_t hdmi_out0_core_initiator_enable_read(void);
void hdmi_out0_core_initiator_enable_write(uint8_t v);
uint32_t hdmi_out0_core_initiator_hscan_read(void);
void hdmi_out0_core_initiator_hscan_write(uint16_t v);
uint32_t hdmi_out0_core_initiator_hres_read(void);
void hdmi_out0_core_initiator_hres_write(uint16_t v);
uint32_t hdmi_out0_core_initiator_hsync_start_read(void);
void hdmi_out0_core_initiator_hsync_start_write(uint16_t v);
uint32_t hdmi_out0_core_initiator_hsync_end_read(void);
void hdmi_out0_core_initiator_hsync_end_write(uint16_t v);
uint32_t hdmi_out0_core_initiator_vres_read(void);
void hdmi_out0_core_initiator_vres_write(uint16_t v);
uint32_t hdmi_out0_core_initiator_vsync_start_read(void);
void hdmi_out0_core_initiator_vsync_start_write(uint16_t v);
uint32_t hdmi_out0_core_initiator_vsync_end_read(void);
void hdmi_out0_core_initiator_vsync_end_write(uint16_t v);
uint32_t hdmi_out0_core_initiator_vscan_read(void);
void hdmi_out0_core_initiator_vscan_write(uint16_t v);
uint32_t hdmi_out0_core_initiator_length_read(void);
void hdmi_out0_core_initiator_length_write(uint32_t v);
uint32_t hdmi_out0_core_initiator_base_read(void);
void hdmi_out0_core_initiator_base_write(uint32_t v);

/* MMCM configuration */
uint8_t hdmi_out0_driver_clocking_mmcm_write_read(void);
void hdmi_out0_driver_clocking_mmcm_write_write(int v);
uint8_t hdmi_out0_driver_clocking_mmcm_adr_read(void);
void hdmi_out0_driver_clocking_mmcm_adr_write(uint8_t v);
uint16_t hdmi_out0_driver_clocking_mmcm_dat_w_read(void);
void hdmi_out0_driver_clocking_mmcm_dat_w_write(uint16_t v);
uint8_t hdmi_out0_driver_clocking_mmcm_drdy_read(void);
uint8_t hdmi_out0_driver_clocking_mmcm_reset_read(void);
void hdmi_out0_driver_clocking_mmcm_reset_write(uint8_t v);
void hdmi_out0_driver_clocking_mmcm_write(int adr, int data);

/* Reset HDMI core */
void hdmi_out0_reset_write(uint8_t v);
void hdmi_out0_reset_regs(void);

void hdmi_out0_status(void);
```

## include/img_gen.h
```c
/*
 * Copyright (c) 2021-2022 Antmicro
 *
 * SPDX-License-Identifier: Apache-2.0
 */

void generate_image_with_text(uint32_t image_with_text[], int width, int height);
int generate_image_with_logo(uint32_t overlay_image[], int width, int height, int offset_x, int offset_y);
```

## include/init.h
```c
/*
 * Copyright (c) 2021-2022 Antmicro
 *
 * SPDX-License-Identifier: Apache-2.0
 */

#include "common.h"

extern int cam_buffer_index;
extern int gpu_buffer_index;

extern int block_buff[3];
extern int blocked_buff_gpu;
extern int blocked_buff_cam;
extern bool callback_cam_block;
extern bool callback_gpu_block;

extern const k_tid_t cam_id;
extern const k_tid_t gpu_id;
extern const k_tid_t hdmi_id;

extern bool suspend_hdmi;
extern bool suspend_cam;
extern bool suspend_gpu;

#ifdef MEASURE_PERFORMANCE
extern timing_t start_time_cam, end_time_cam;
extern timing_t start_time_gpu, end_time_gpu;
extern uint64_t measures_cam[100];
extern int n_measure_cam;
extern uint64_t measures_gpu[100];
extern int n_measure_gpu;
#endif

extern enum mode mode;
extern struct k_sem my_sem;

extern enum overlay_mode overlay_mode;

void cam1_dma_user_callback(const struct device *dma_dev, void *arg, uint32_t id, int error_code);
void cam_with_gpu_dma_user_callback(const struct device *dma_dev, void *arg, uint32_t id, int error_code);
void cam2_dma_user_callback(const struct device *dma_dev, void *arg, uint32_t id, int error_code);
void gpu_in_dma_user_callback(const struct device *dma_dev, void *arg, uint32_t id, int error_code);
void gpu_out_dma_user_callback(const struct device *dma_dev, void *arg, uint32_t id, int error_code);
void dma_init_cam1(void);
void dma_init_cam2(void);
void dma_init_gpu_inputs(void);
void dma_init_gpu_output(void);
void hdmi(void);
void cam(void);
void gpu(void);
void suspend_threads(void);
void hdmi_out0_core_initiator_base_write(uint32_t v);
void hdmi_out0_core_initiator_enable_write(uint8_t v);
```

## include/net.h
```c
/*
 * Copyright (c) 2021-2022 Antmicro
 *
 * SPDX-License-Identifier: Apache-2.0
 */

int bind_socket(int sock, struct sockaddr *sock_addr, socklen_t sock_addrlen);
int send_data(int sock, struct sockaddr *sock_addr);
int send_length(int sock, struct sockaddr *sock_addr);
int init_socket(void);
void send_image(uint32_t img_buff[], uint32_t img_length);
```

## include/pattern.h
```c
/*
 * Copyright (c) 2021-2022 Antmicro
 *
 * SPDX-License-Identifier: Apache-2.0
 */

#include <zephyr.h>
#include "common.h"

#define RGB_WHITE  0x00ffffff
#define RGB_YELLOW 0x0000ffff
#define RGB_CYAN   0x00ffff00
#define RGB_GREEN  0x0000ff00
#define RGB_PURPLE 0x00ff00ff
#define RGB_RED    0x000000ff
#define RGB_BLUE   0x00ff0000
#define RGB_BLACK  0x00000000

void draw_pattern(uint32_t img_buff[]);
void draw_color(uint32_t img_buff[], int color);
void draw_colorbar(uint32_t img_buff[]);
```

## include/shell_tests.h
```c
/*
 * Copyright (c) 2021-2022 Antmicro
 *
 * SPDX-License-Identifier: Apache-2.0
 */

#include "img_gen.h"
#include "gpu.h"
#include "init.h"

extern const struct device *ov2640_dev_1;
extern const struct device *ov2640_dev_2;
extern uint32_t *hdmi_buffers[3];
extern uint32_t *hdmi_buffers_overlay[3];
extern uint32_t img_length_1;
extern uint32_t img_length_2;
extern struct video_format fmt_1;
extern struct video_format fmt_2;
extern struct video_caps caps;
extern uint32_t logo_offset_x;
extern uint32_t logo_offset_y;

extern int cam_buffer_index;
extern int gpu_buffer_index;

extern const k_tid_t hdmi_id;
extern const k_tid_t gpu_id;
extern const k_tid_t cam_id;

extern bool suspend_hdmi;
extern bool suspend_cam;
extern bool suspend_gpu;

extern enum mode{cams, overlay} mode;
extern enum mode mode;

extern char *overlay_text;

extern struct k_sem my_sem;

extern enum overlay_mode {text, logo} overlay_mode;
extern enum overlay_mode overlay_mode;

#define CHAR_CAN 0x18
#define CHAR_DC1 0x11

void flush_l2_cache(void);
void blend_images(uint32_t read_addr, uint32_t write_addr);
```

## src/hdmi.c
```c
/*
 * Copyright (c) 2021-2022 Antmicro
 *
 * SPDX-License-Identifier: Apache-2.0
 */

#include <zephyr.h>
#include <stdio.h>
#include <stdlib.h>

#include "hdmi.h"

/* Common read/write functions */
unsigned int read_reg(unsigned int offset)
{
	volatile unsigned int *reg = (unsigned int *)(CSR_BASE + offset);
	return *reg;
}

void write_reg(unsigned int to_write, unsigned int offset)
{
	volatile unsigned int *reg = (unsigned int *)(CSR_BASE + offset);
	*reg = to_write;
}

/* Framebuffer timings configuration */
void fb_get_clock_md(unsigned int pixel_clock, unsigned int *best_m, unsigned int *best_d)
{
	unsigned int max_m, max_d;
	unsigned int ideal_m, ideal_d;
	unsigned int bm, bd;
	unsigned int m, d;
	unsigned int diff_current;
	unsigned int diff_tested;

	ideal_m = pixel_clock;
	bm = 1;
	bd = 0;
	pixel_clock = pixel_clock * 10;
	ideal_d = 1000;
	max_d = 128;
	max_m = 128;
	for (d = 1; d <= max_d; d++)
		for (m = 2; m <= max_m; m++) {
			/* common denominator is d*bd*ideal_d */
			diff_current = abs(d*ideal_d*bm - d*bd*ideal_m);
			diff_tested = abs(bd*ideal_d*m - d*bd*ideal_m);
			if (diff_tested < diff_current) {
				bm = m;
				bd = d;
			}
		}
	*best_m = bm;
	*best_d = bd;
}

void mmcm_config_for_clock(int pixel_clock)
{
	if (pixel_clock < 3000) {
		printf("Frequency too low for input MMCMs\n");
	} else if (pixel_clock < 6000) {
		hdmi_out0_driver_clocking_mmcm_write(0x14, 0x1000 | (10<<6) | 10); /* clkfbout_mult  = 20 */
		hdmi_out0_driver_clocking_mmcm_write(0x08, 0x1000 | (10<<6) | 10); /* clkout0_divide = 20 */
		hdmi_out0_driver_clocking_mmcm_write(0x0a, 0x1000 |  (8<<6) |  8); /* clkout1_divide = 16 */
		hdmi_out0_driver_clocking_mmcm_write(0x0c, 0x1000 |  (2<<6) |  2); /* clkout2_divide =  4 */
		hdmi_out0_driver_clocking_mmcm_write(0x0d, 0);                     /* clkout2_divide =  4 */
	} else if (pixel_clock < 12000) {
		hdmi_out0_driver_clocking_mmcm_write(0x14, 0x1000 |  (5<<6) | 5); /* clkfbout_mult  = 10 */
		hdmi_out0_driver_clocking_mmcm_write(0x08, 0x1000 |  (5<<6) | 5); /* clkout0_divide = 10 */
		hdmi_out0_driver_clocking_mmcm_write(0x0a, 0x1000 |  (4<<6) | 4); /* clkout1_divide =  8 */
		hdmi_out0_driver_clocking_mmcm_write(0x0c, 0x1000 |  (1<<6) | 1); /* clkout2_divide =  2 */
		hdmi_out0_driver_clocking_mmcm_write(0x0d, 0);                    /* clkout2_divide =  2 */
	} else if (pixel_clock < 24000) {
		hdmi_out0_driver_clocking_mmcm_write(0x14, 0x1000 |  (2<<6) | 3);  /* clkfbout_mult  = 5 */
		hdmi_out0_driver_clocking_mmcm_write(0x08, 0x1000 |  (2<<6) | 3);  /* clkout0_divide = 5 */
		hdmi_out0_driver_clocking_mmcm_write(0x0a, 0x1000 |  (2<<6) | 2);  /* clkout1_divide = 4 */
		hdmi_out0_driver_clocking_mmcm_write(0x0c, 0x1000 |  (0<<6) | 0);  /* clkout2_divide = 1 */
		hdmi_out0_driver_clocking_mmcm_write(0x0d, (1<<6));                /* clkout2_divide = 1 */
	} else {
		printf("Frequency too high for input MMCMs\n");
	}
}

void fb_set_clock(unsigned int pixel_clock)
{
	unsigned int clock_m, clock_d;

	fb_get_clock_md(pixel_clock, &clock_m, &clock_d);
	fb_clkgen_write(clock_m, clock_d);
}

void timings_write(struct video_timing *vid_t)
{
	unsigned int hdmi_out0_enabled;

	if (hdmi_out0_core_initiator_enable_read()) {
		hdmi_out0_enabled = 1;
		hdmi_out0_core_initiator_enable_write(0);
	}
	hdmi_out0_driver_clocking_mmcm_reset_write(1);
	mmcm_config_for_clock(vid_t->pixel_clock);

	hdmi_out0_core_initiator_hres_write(vid_t->h_active);
	hdmi_out0_core_initiator_hsync_start_write(vid_t->h_active + vid_t->h_sync_offset);
	hdmi_out0_core_initiator_hsync_end_write(vid_t->h_active + vid_t->h_sync_offset + vid_t->h_sync_width);
	hdmi_out0_core_initiator_hscan_write(vid_t->h_active + vid_t->h_blanking);
	hdmi_out0_core_initiator_vres_write(vid_t->v_active);
	hdmi_out0_core_initiator_vsync_start_write(vid_t->v_active + vid_t->v_sync_offset);
	hdmi_out0_core_initiator_vsync_end_write(vid_t->v_active + vid_t->v_sync_offset + vid_t->v_sync_width);
	hdmi_out0_core_initiator_vscan_write(vid_t->v_active + vid_t->v_blanking);
	hdmi_out0_core_initiator_length_write(vid_t->h_active*vid_t->v_active*4);
	hdmi_out0_core_initiator_base_write(0);
	fb_set_clock(vid_t->pixel_clock);
	hdmi_out0_driver_clocking_mmcm_reset_write(0);
	hdmi_out0_core_initiator_enable_write(hdmi_out0_enabled);
}

void fb_clkgen_write(int m, int d)
{
	/* MMCM VCO range for slowest speed grade Artix-7 is 600MHz-1200MHz
	   Warn if the VCO strays outside these limits.*/
	if ((((m*100)/d) > 1200) || (((m*100)/d) < 600)) {
		printf(
			"WARNING: VCO freq (%uMHz) outside 600MHz-1200MHz range\n"
			"          M: %d, D: %d\n",
			(m*100)/d, m, d);
	} else {
		printf(
			"INFO: VCO freq: %uMHz, M: %d, D: %d\n", (m*100)/d, m, d);
	}
	/* clkfbout_mult = m */

	if (m%2) {
		hdmi_out0_driver_clocking_mmcm_write(0x14, 0x1000 | ((m/2)<<6) | (m/2 + 1));
	} else {
		hdmi_out0_driver_clocking_mmcm_write(0x14, 0x1000 | ((m/2)<<6) | m/2);
	}
	/* divclk_divide = d */
	if (d == 1)
		hdmi_out0_driver_clocking_mmcm_write(0x16, 0x1000);
	else if (d%2)
		hdmi_out0_driver_clocking_mmcm_write(0x16, ((d/2)<<6) | (d/2 + 1));
	else
		hdmi_out0_driver_clocking_mmcm_write(0x16, ((d/2)<<6) | d/2);
	/* clkout0_divide = 10 */
	hdmi_out0_driver_clocking_mmcm_write(0x8, 0x1000 | (5<<6) | 5);
	/* clkout1_driver_clocking_divide = 2; */
	hdmi_out0_driver_clocking_mmcm_write(0xa, 0x1000 | (1<<6) | 1);
}

/* Initiator configuration */
uint8_t hdmi_out0_core_initiator_enable_read(void)
{
	return read_reg(INITIATOR_ENABLE_REG);
}

void hdmi_out0_core_initiator_enable_write(uint8_t v)
{
	write_reg(v, INITIATOR_ENABLE_REG);
}

void hdmi_out0_core_initiator_hscan_write(uint16_t v)
{
	write_reg(v >> 8, INITIATOR_HSCAN_HI);
	write_reg(v, INITIATOR_HSCAN_LOW);
}

uint32_t hdmi_out0_core_initiator_hscan_read(void)
{
	return read_reg(INITIATOR_HSCAN_HI) << 8 |
			read_reg(INITIATOR_HSCAN_LOW);
}

void hdmi_out0_core_initiator_hres_write(uint16_t v)
{
	write_reg(v >> 8, INITIATOR_HRES_HI);
	write_reg(v, INITIATOR_HRES_LOW);
}

uint32_t hdmi_out0_core_initiator_hres_read(void)
{
	return read_reg(INITIATOR_HRES_HI) << 8 |
			read_reg(INITIATOR_HRES_LOW);
}

void hdmi_out0_core_initiator_hsync_start_write(uint16_t v)
{
	write_reg(v >> 8, INITIATOR_HSYNC_START_HI);
	write_reg(v, INITIATOR_HSYNC_START_LOW);
}

uint32_t hdmi_out0_core_initiator_hsync_start_read(void)
{
	return read_reg(INITIATOR_HSYNC_START_HI) << 8 |
			read_reg(INITIATOR_HSYNC_START_LOW);
}

void hdmi_out0_core_initiator_hsync_end_write(uint16_t v)
{
	write_reg(v >> 8, INITIATOR_HSYNC_END_HI);
	write_reg(v, INITIATOR_HSYNC_END_LOW);
}

uint32_t hdmi_out0_core_initiator_hsync_end_read(void)
{
	return read_reg(INITIATOR_HSYNC_END_HI) << 8 |
			read_reg(INITIATOR_HSYNC_END_LOW);
}

void hdmi_out0_core_initiator_vres_write(uint16_t v)
{
	write_reg(v >> 8, INITIATOR_VRES_HI);
	write_reg(v, INITIATOR_VRES_LOW);
}

uint32_t hdmi_out0_core_initiator_vres_read(void)
{
	return read_reg(INITIATOR_VRES_HI) << 8 |
			read_reg(INITIATOR_VRES_LOW);
}

void hdmi_out0_core_initiator_vsync_start_write(uint16_t v)
{
	write_reg(v >> 8, INITIATOR_VSYNC_START_HI);
	write_reg(v, INITIATOR_VSYNC_START_LOW);
}

uint32_t hdmi_out0_core_initiator_vsync_start_read(void)
{
	return read_reg(INITIATOR_VSYNC_START_HI) << 8 |
			read_reg(INITIATOR_VSYNC_START_LOW);
}

void hdmi_out0_core_initiator_vsync_end_write(uint16_t v)
{
	write_reg(v >> 8, INITIATOR_VSYNC_END_HI);
	write_reg(v, INITIATOR_VSYNC_END_LOW);
}

uint32_t hdmi_out0_core_initiator_vsync_end_read(void)
{
	return read_reg(INITIATOR_VSYNC_END_HI) << 8 |
			read_reg(INITIATOR_VSYNC_END_LOW);
}

void hdmi_out0_core_initiator_vscan_write(uint16_t v)
{
	write_reg(v >> 8, INITIATOR_VSCAN_HI);
	write_reg(v, INITIATOR_VSCAN_LOW);
}

uint32_t hdmi_out0_core_initiator_vscan_read(void)
{
	return read_reg(INITIATOR_VSCAN_HI) << 8 |
			read_reg(INITIATOR_VSCAN_LOW);
}

void hdmi_out0_core_initiator_length_write(uint32_t v)
{
	write_reg(v >> 24, INITIATOR_LENGTH_BYTE_0);
	write_reg(v >> 16, INITIATOR_LENGTH_BYTE_1);
	write_reg(v >> 8, INITIATOR_LENGTH_BYTE_2);
	write_reg(v, INITIATOR_LENGTH_BYTE_3);
}

uint32_t hdmi_out0_core_initiator_length_read(void)
{
	return read_reg(INITIATOR_LENGTH_BYTE_0) << 24 |
			read_reg(INITIATOR_LENGTH_BYTE_1) << 16 |
			read_reg(INITIATOR_LENGTH_BYTE_2) << 8 |
			read_reg(INITIATOR_LENGTH_BYTE_3);
}

void hdmi_out0_core_initiator_base_write(uint32_t v)
{
	write_reg(v >> 24, INITIATOR_BASE_BYTE_0);
	write_reg(v >> 16, INITIATOR_BASE_BYTE_1);
	write_reg(v >> 8, INITIATOR_BASE_BYTE_2);
	write_reg(v, INITIATOR_BASE_BYTE_3);
}

uint32_t hdmi_out0_core_initiator_base_read(void)
{
	return read_reg(INITIATOR_BASE_BYTE_0) << 24 |
			read_reg(INITIATOR_BASE_BYTE_1) << 16 |
			read_reg(INITIATOR_BASE_BYTE_2) << 8 |
			read_reg(INITIATOR_BASE_BYTE_3);
}

/* MMCM configuration */
uint8_t hdmi_out0_driver_clocking_mmcm_write_read(void)
{
	return read_reg(CLOCKING_MMCM_REG);
}
void hdmi_out0_driver_clocking_mmcm_write_write(int v)
{
	write_reg(v, CLOCKING_MMCM_REG);
}

uint8_t hdmi_out0_driver_clocking_mmcm_adr_read(void)
{
	return read_reg(CLOCKING_MMCM_ADR_REG);
}
void hdmi_out0_driver_clocking_mmcm_adr_write(uint8_t v)
{
	write_reg(v, CLOCKING_MMCM_ADR_REG);
}

uint16_t hdmi_out0_driver_clocking_mmcm_dat_w_read(void)
{
	return read_reg(CLOCKING_MMCM_DAT_REG_HI) << 8 |
			read_reg(CLOCKING_MMCM_DAT_REG_LOW);
}
void hdmi_out0_driver_clocking_mmcm_dat_w_write(uint16_t v)
{
	write_reg(v >> 8, CLOCKING_MMCM_DAT_REG_HI);
	write_reg(v, CLOCKING_MMCM_DAT_REG_LOW);
}

uint8_t hdmi_out0_driver_clocking_mmcm_drdy_read(void)
{
	return read_reg(CLOCKING_MMCM_DRDY_REG);
}

uint8_t hdmi_out0_driver_clocking_mmcm_reset_read(void)
{
	return read_reg(CLOCKING_MMCM_RESET_REG);
}
void hdmi_out0_driver_clocking_mmcm_reset_write(uint8_t v)
{
	write_reg(v, CLOCKING_MMCM_RESET_REG);
}

void hdmi_out0_driver_clocking_mmcm_write(int adr, int data)
{
	hdmi_out0_driver_clocking_mmcm_adr_write(adr);
	hdmi_out0_driver_clocking_mmcm_dat_w_write(data);
	hdmi_out0_driver_clocking_mmcm_write_write(1);
	while (!hdmi_out0_driver_clocking_mmcm_drdy_read());
}

void hdmi_out0_reset_write(uint8_t v)
{
	write_reg(v, HDMI_RESET);
}

void hdmi_out0_reset_regs(void)
{
	hdmi_out0_core_initiator_hres_write(0);
	hdmi_out0_core_initiator_hsync_start_write(0);
	hdmi_out0_core_initiator_hsync_end_write(0);
	hdmi_out0_core_initiator_hscan_write(0);
	hdmi_out0_core_initiator_vres_write(0);
	hdmi_out0_core_initiator_vsync_start_write(0);
	hdmi_out0_core_initiator_vsync_end_write(0);
	hdmi_out0_core_initiator_vscan_write(0);
	hdmi_out0_core_initiator_length_write(0);
	hdmi_out0_core_initiator_base_write(0);
	hdmi_out0_core_initiator_enable_write(0);

	hdmi_out0_driver_clocking_mmcm_write(0x14, 0);
	hdmi_out0_driver_clocking_mmcm_write(0x16, 0);
	hdmi_out0_driver_clocking_mmcm_write(0x8, 0);
	hdmi_out0_driver_clocking_mmcm_write(0xa, 0);
}

void hdmi_out0_status(void)
{
	printf("===== HDMI configuration =====\n");
	printf("enable: 0x%x\n", hdmi_out0_core_initiator_enable_read());
	printf("hscan: 0x%x\n", hdmi_out0_core_initiator_hscan_read());
	printf("hres: 0x%x\n", hdmi_out0_core_initiator_hres_read());
	printf("vres: 0x%x\n", hdmi_out0_core_initiator_vres_read());
	printf("hsync_start: 0x%x\n", hdmi_out0_core_initiator_hsync_start_read());
	printf("hsync_end: 0x%x\n", hdmi_out0_core_initiator_hsync_end_read());
	printf("vsync_start: 0x%x\n", hdmi_out0_core_initiator_vsync_start_read());
	printf("vsync_end: 0x%x\n", hdmi_out0_core_initiator_vsync_end_read());
	printf("vscan: 0x%x\n", hdmi_out0_core_initiator_vscan_read());
	printf("length: 0x%x\n", hdmi_out0_core_initiator_length_read());
	printf("base: 0x%x\n\n", hdmi_out0_core_initiator_base_read());

	printf("===== MMCM configuration =====\n");
	printf("write: 0x%x\n", hdmi_out0_driver_clocking_mmcm_write_read());
	printf("adr: 0x%x\n", hdmi_out0_driver_clocking_mmcm_adr_read());
	printf("dat_w: 0x%x\n", hdmi_out0_driver_clocking_mmcm_dat_w_read());
	printf("drdy: 0x%x\n", hdmi_out0_driver_clocking_mmcm_drdy_read());
	printf("reset: 0x%x\n\n", hdmi_out0_driver_clocking_mmcm_reset_read());
}
```

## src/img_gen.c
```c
/*
 * Copyright (c) 2021-2022 Antmicro
 *
 * SPDX-License-Identifier: Apache-2.0
 */

#include <zephyr.h>
#include <string.h>

#include "font.h"
#include "logo_antmicro.h"

#define CHAR_WIDTH_INDEX 7

extern char overlay_text[25];

void generate_image_with_text(uint32_t overlay_image[], int width, int height)
{
	int color = 0xff000000; // black
	int text_len = strlen(overlay_text);

	for (int i = 0; i < width * height; i++) {
		overlay_image[i] = 0;
	}

	for (int k = 0; k < text_len; k++) {
		int v_offset;
		int h_offset = 10;
		int character = overlay_text[k] - ' ';

		if (width < 480) {
			v_offset = height - 30;
		} else {
			v_offset = height - 70;
		}

		/* Write at [v_offset * width][h_offset + char_offset + char_bit] */
		for(int i = 0; i <= 15; i++) {
			if (width < 480) {
				for (int j = 0; j < CHAR_WIDTH_INDEX; j++) {
					if ((font[character][i] >> (CHAR_WIDTH_INDEX - j)) & 1) {
						overlay_image[v_offset * width + h_offset + (k * 13) + j] = color;
					}
				}
				v_offset++;
			} else {
				for (int j = 0; j < CHAR_WIDTH_INDEX; j++) {
					if ((font[character][i] >> (CHAR_WIDTH_INDEX - j)) & 1) {
						overlay_image[(v_offset + 0) * width + h_offset + (k * 13 * 2) + (2 * j)] = color;
						overlay_image[(v_offset + 0) * width + h_offset + (k * 13 * 2) + ((2 * j) + 1)] = color;
						overlay_image[(v_offset + 1) * width + h_offset + (k * 13 * 2) + (2 * j)] = color;
						overlay_image[(v_offset + 1) * width + h_offset + (k * 13 * 2) + ((2 * j) + 1)] = color;
					}
				}
				v_offset += 2;
			}
		}
	}
}

int generate_image_with_logo(uint32_t overlay_image[], int width, int height, int offset_x, int offset_y)
{
	if(offset_x + LOGO_WIDTH > width || offset_y + LOGO_HEIGHT > height) {
		return 1;
	}

	for(int i = 0; i < width * height; i++) {
		overlay_image[i] = 0;
	}

	int iter = 0;
	for(int row = 0; row < LOGO_HEIGHT; row++) {
		for(int col = 0; col < LOGO_WIDTH; col++) {
			int pixel = logo_rgba[iter + 3] << 24 |
						logo_rgba[iter + 2] << 16 |
						logo_rgba[iter + 1] << 8  |
						logo_rgba[iter + 0];
			iter += 4;

			overlay_image[((offset_y + row) * width) + (offset_x + col)] = pixel;
		}
	}

	return 0;
}
```
